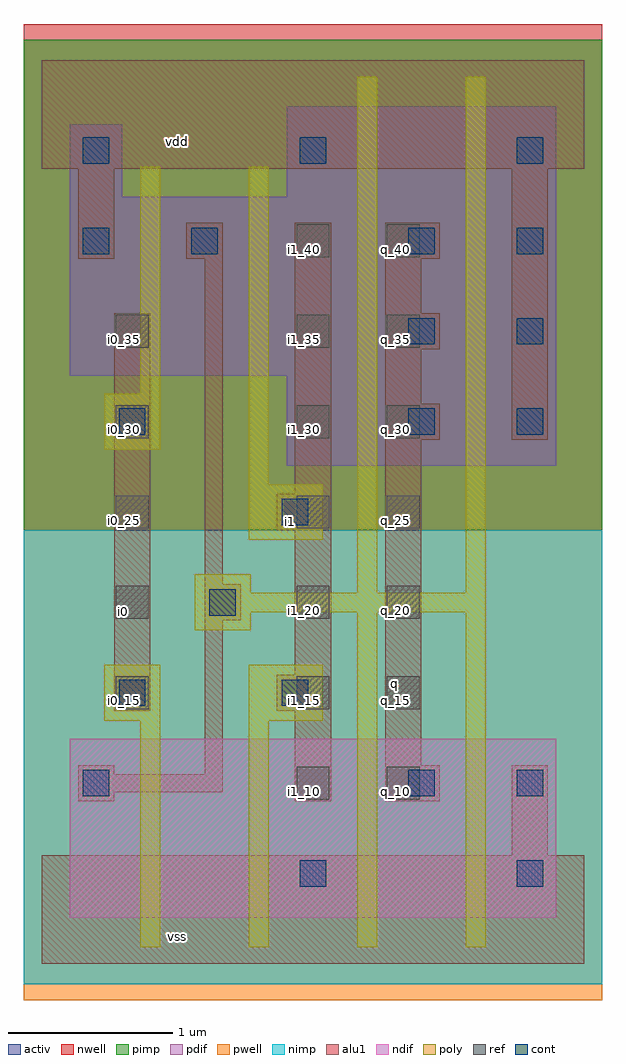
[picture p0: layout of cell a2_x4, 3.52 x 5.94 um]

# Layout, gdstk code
import gdstk
lib = gdstk.Library(unit=1e-6, precision=2.5e-09)
def R(c, l, rs):  # rectangles x0, y0, x1, y1
    for r in rs: c.add(gdstk.rectangle(r[:2], r[2:], *l))
def A(c, l, x, y, w, h, nx, ny, dx, dy):  # array of equal rectangles
    R(c, l, [(x+i*dx, y+j*dy, x+i*dx+w, y+j*dy+h) for i in range(nx) for j in range(ny)])
ndif = (3, 0)
pdif = (4, 0)
ref = (24, 0)
cont = (25, 0)
pwell = (41, 0)
nwell = (42, 0)
activ = (43, 0)
pimp = (44, 0)
nimp = (45, 0)
poly = (46, 0)
alu1 = (49, 0)

a2_x4 = lib.new_cell('a2_x4')
R(a2_x4, ndif, [(0.17,0.28,3.13,1.37), (0.17,0.28,3.13,1.37)])
R(a2_x4, pdif, [(1.49,3.03,3.13,3.58), (1.49,3.03,3.13,3.58), (0.17,3.58,3.13,4.67), (0.17,3.58,3.13,4.67), (0.17,4.67,0.49,5.11), (0.17,4.67,0.49,5.11), (1.49,4.67,3.13,5.22), (1.49,4.67,3.13,5.22)])
A(a2_x4, ref, 1.55, 1, 0.2, 0.2, 1, 7, 0, 0.55)
A(a2_x4, ref, 2.1, 1, 0.2, 0.2, 1, 7, 0, 0.55)
A(a2_x4, ref, 0.45, 1.55, 0.2, 0.2, 1, 5, 0, 0.55)
A(a2_x4, cont, 2.23, 3.22, 0.16, 0.16, 1, 3, 0, 0.55)
A(a2_x4, cont, 2.89, 3.22, 0.16, 0.16, 1, 3, 0, 0.55)
A(a2_x4, cont, 0.25, 4.87, 0.16, 0.16, 3, 1, 1.32, 0)
R(a2_x4, cont, [(1.57,0.47,1.73,0.63), (2.89,0.47,3.05,0.63), (0.25,1.02,0.41,1.18), (2.23,1.02,2.39,1.18), (2.89,1.02,3.05,1.18), (0.47,1.57,0.63,1.73), (1.46,1.57,1.62,1.73), (1.02,2.12,1.18,2.28), (1.46,2.67,1.62,2.83), (0.47,3.22,0.63,3.38), (0.25,4.32,0.41,4.48), (0.91,4.32,1.07,4.48)])
R(a2_x4, pwell, [(-0.11,-0.22,3.41,2.64)])
R(a2_x4, nwell, [(-0.11,2.64,3.41,5.72)])
R(a2_x4, activ, [(0.17,0.28,3.13,1.37), (0.17,0.28,3.13,1.37), (1.49,3.03,3.13,3.58), (1.49,3.03,3.13,3.58), (0.17,3.58,3.13,4.67), (0.17,3.58,3.13,4.67), (0.17,4.67,0.49,5.11), (0.17,4.67,0.49,5.11), (1.49,4.67,3.13,5.22), (1.49,4.67,3.13,5.22)])
R(a2_x4, pimp, [(-0.11,2.64,3.41,5.625)])
R(a2_x4, nimp, [(-0.11,-0.125,3.41,2.64)])
R(a2_x4, poly, [(0.6,0.1,0.72,1.48), (1.26,0.1,1.38,1.48), (1.92,0.1,2.04,2.14), (2.58,0.1,2.7,2.14), (0.38,1.48,0.72,1.82), (1.26,1.48,1.71,1.82), (0.93,2.03,1.27,2.14), (0.93,2.14,2.7,2.26), (0.93,2.26,1.27,2.37), (1.92,2.26,2.04,5.4), (2.58,2.26,2.7,5.4), (1.26,2.58,1.71,2.92), (1.26,2.92,1.38,4.85), (0.38,3.13,0.72,3.47), (0.6,3.47,0.72,4.85)])
A(a2_x4, alu1, 2.09, 3.19, 0.33, 0.22, 1, 3, 0, 0.55)
R(a2_x4, alu1, [(0,0,3.3,0.66), (2.86,0.66,3.08,1.21), (0.22,0.99,0.44,1.045), (1.54,0.99,1.76,1.54), (2.09,0.99,2.42,1.21), (0.22,1.045,1.1,1.155), (0.22,1.155,0.44,1.21), (0.99,1.155,1.1,2.09), (2.09,1.21,2.31,3.19), (0.44,1.54,0.66,3.96), (1.43,1.54,1.76,1.76), (1.54,1.76,1.76,2.64), (0.99,2.09,1.21,2.31), (0.99,2.31,1.1,4.29), (1.43,2.64,1.76,2.86), (1.54,2.86,1.76,4.51), (2.86,3.19,3.08,4.84), (2.09,3.41,2.31,3.74), (2.09,3.96,2.31,4.29), (0.22,4.29,0.44,4.84), (0.88,4.29,1.1,4.51), (0,4.84,3.3,5.5)])
a2_x4.add(gdstk.Label('vss', (0.825,0.165), layer=49, texttype=0))
a2_x4.add(gdstk.Label('q', (2.145,1.705), layer=49, texttype=0))
a2_x4.add(gdstk.Label('i1', (1.5125,2.695), layer=49, texttype=0))
a2_x4.add(gdstk.Label('i0', (0.495,2.145), layer=49, texttype=0))
a2_x4.add(gdstk.Label('vdd', (0.825,5.005), layer=49, texttype=0))
a2_x4.add(gdstk.Label('q_20', (2.15,2.15), layer=24, texttype=0))
a2_x4.add(gdstk.Label('q_15', (2.15,1.6), layer=24, texttype=0))
a2_x4.add(gdstk.Label('q_10', (2.15,1.05), layer=24, texttype=0))
a2_x4.add(gdstk.Label('q_40', (2.15,4.35), layer=24, texttype=0))
a2_x4.add(gdstk.Label('q_35', (2.15,3.8), layer=24, texttype=0))
a2_x4.add(gdstk.Label('q_30', (2.15,3.25), layer=24, texttype=0))
a2_x4.add(gdstk.Label('q_25', (2.15,2.7), layer=24, texttype=0))
a2_x4.add(gdstk.Label('i0_35', (0.5,3.8), layer=24, texttype=0))
a2_x4.add(gdstk.Label('i0_30', (0.5,3.25), layer=24, texttype=0))
a2_x4.add(gdstk.Label('i0_25', (0.5,2.7), layer=24, texttype=0))
a2_x4.add(gdstk.Label('i0_20', (0.5,2.15), layer=24, texttype=0))
a2_x4.add(gdstk.Label('i0_15', (0.5,1.6), layer=24, texttype=0))
a2_x4.add(gdstk.Label('i1_10', (1.6,1.05), layer=24, texttype=0))
a2_x4.add(gdstk.Label('i1_15', (1.6,1.6), layer=24, texttype=0))
a2_x4.add(gdstk.Label('i1_20', (1.6,2.15), layer=24, texttype=0))
a2_x4.add(gdstk.Label('i1_25', (1.6,2.7), layer=24, texttype=0))
a2_x4.add(gdstk.Label('i1_30', (1.6,3.25), layer=24, texttype=0))
a2_x4.add(gdstk.Label('i1_35', (1.6,3.8), layer=24, texttype=0))
a2_x4.add(gdstk.Label('i1_40', (1.6,4.35), layer=24, texttype=0))

lib.write_gds('a2_x4.gds')
